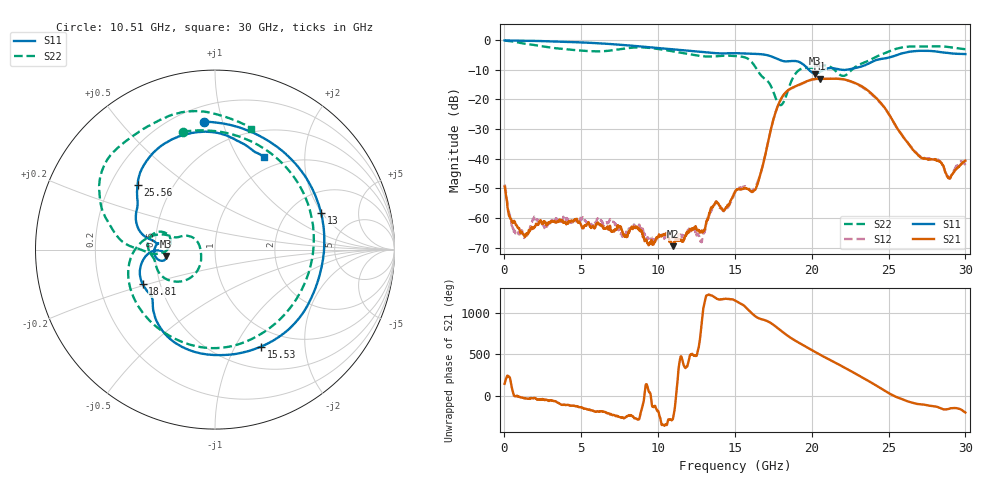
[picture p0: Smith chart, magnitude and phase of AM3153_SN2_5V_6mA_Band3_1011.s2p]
!Agilent Technologies,E8364B,MY43040894,A.07.50.67
!Agilent E8364B: A.07.50.67
!Date: Wednesday, May 13, 2020 06:23:24
!Correction: S11(Full 2 Port(1,2))
!S21(Full 2 Port(1,2))
!S12(Full 2 Port(1,2))
!S22(Full 2 Port(1,2))
!S2P File: Measurements: S11, S21, S12, S22:
# Hz S  dB  R 50
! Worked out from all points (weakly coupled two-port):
!   1601 points, 10 MHz to 30 GHz, reference 50 ohm
!   highest |S21| = -12.97 dB at 20.52 GHz (marker M1); lowest = -69.5 dB at 10.98 GHz (marker M2)
!   lowest |S11| = -11.3 dB at 20.23 GHz (marker M3), VSWR 1.75, Z = 28.6 - j2.24 ohm
!   |S11| at or under -10 dB: 19.82 GHz to 20.78 GHz (966.1 MHz wide, 4.76 % of centre); 21.99 GHz to 22.26 GHz (269.3 MHz wide, 1.22 % of centre)
!   |S22| runs from -21.9 to -0.1 dB; largest |S21 - S12| = 0.007
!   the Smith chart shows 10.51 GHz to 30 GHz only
!   S11 on the Smith chart (normalised r, x): 10.51 GHz: 0.30, +0.87; 13 GHz: 2.93, +1.95; 15.53 GHz: 0.76, -1.28; 18.81 GHz: 0.40, -0.19; 25.56 GHz: 0.31, +0.33; 30 GHz: 0.83, +1.29
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1e7  -0.09 -2.0  -49.37 143.0  -48.70 -22.2  -0.11 -4.4
1.247088e9  -0.19 -35.4  -65.73 -27.9  -65.99 -16.7  -1.13 -79.5
2.690356e9  -0.32 -74.5  -61.56 -49.0  -62.37 -60.3  -2.26 -155.2
5.014581e9  -0.75 -132.5  -62.87 -145.1  -60.49 -138.4  -3.52 96.8
6.682775e9  -1.23 -171.6  -63.03 150.0  -61.86 150.2  -3.61 -0.7
7.901119e9  -1.68 160.2  -65.94 99.7  -65.29 63.2  -2.76 -91.4
8.932025e9  -2.15 135.4  -64.88 -165.1  -63.66 122.5  -2.42 -164.9
1.001916e10  -2.66 107.8  -66.47 167.0  -66.24 109.9  -2.96 131.2
1.05065e10  -2.91 94.8  -65.52 10.7  -66.50 102.8  -3.34 105.4
1.097509e10  -3.12 81.7  -69.53 87.7  -66.34 30.1  -3.75 81.6
1.299942e10  -4.08 18.9  -64.15 25.3  -64.64 25.7  -5.46 -21.0
1.5005e10  -4.37 -46.8  -51.04 71.3  -51.50 70.3  -5.34 -124.8
1.552982e10  -4.46 -64.7  -50.20 16.8  -49.45 16.9  -5.65 -152.9
1.641078e10  -4.64 -93.1  -49.38 -131.2  -48.75 -130.9  -9.72 165.1
1.792902e10  -6.68 -138.4  -20.57 75.8  -20.58 75.8  -21.89 -176.1
1.880998e10  -7.00 -154.3  -15.86 -41.8  -15.95 -41.8  -12.36 -134.4
2.000958e10  -10.89 -177.3  -13.26 -169.4  -13.38 -168.5  -9.33 -169.9
2.023451e10  -11.26 -172.4  -13.06 166.8  -13.15 167.7  -9.18 -172.7
2.051566e10  -10.74 -168.0  -12.97 137.7  -13.07 138.5  -8.78 -177.6
2.501416e10  -5.87 148.0  -24.94 29.6  -25.00 32.6  -3.81 162.8
2.555773e10  -4.99 139.9  -29.73 -20.8  -29.75 -18.2  -2.83 153.2
3e10  -4.68 62.4  -40.65 155.1  -42.15 162.3  -3.05 73.4
